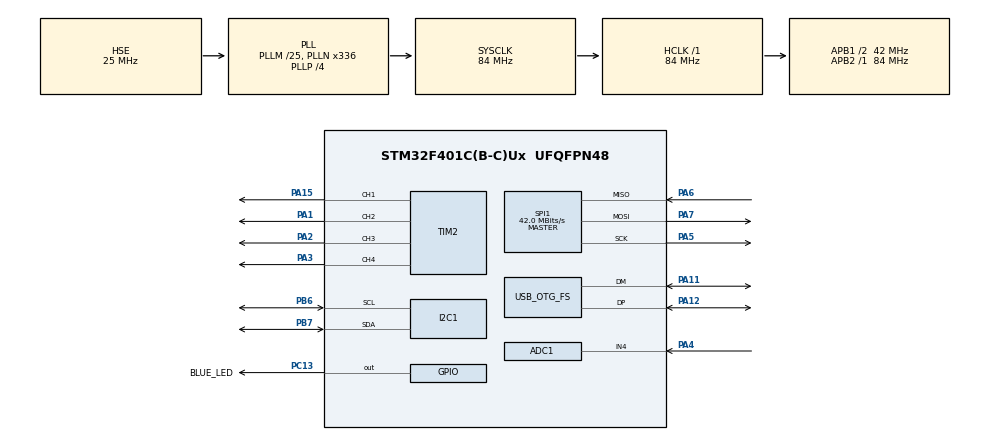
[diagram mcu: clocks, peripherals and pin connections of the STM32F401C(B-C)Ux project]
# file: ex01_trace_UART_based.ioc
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ADC1.Channel-2\#ChannelRegularConversion=ADC_CHANNEL_4
ADC1.NbrOfConversionFlag=1
ADC1.Rank-2\#ChannelRegularConversion=1
ADC1.SamplingTime-2\#ChannelRegularConversion=ADC_SAMPLETIME_3CYCLES
ADC1.master=1
Mcu.Family=STM32F4
Mcu.Name=STM32F401C(B-C)Ux
Mcu.Package=UFQFPN48
NVIC.OTG_FS_IRQn=true\:0\:0\:true\:false\:true\:false\:true\:true
NVIC.PriorityGroup=NVIC_PRIORITYGROUP_4
NVIC.TIM1_UP_TIM10_IRQn=true\:15\:0\:false\:false\:true\:false\:true\:true
NVIC.TimeBase=TIM1_UP_TIM10_IRQn
NVIC.TimeBaseIP=TIM1
PA1.Signal=S_TIM2_CH2
PA11.Mode=Device_Only
PA11.Signal=USB_OTG_FS_DM
PA12.Mode=Device_Only
PA12.Signal=USB_OTG_FS_DP
PA13.Mode=Trace_Asynchronous_SW
PA13.Signal=SYS_JTMS-SWDIO
PA14.Mode=Trace_Asynchronous_SW
PA14.Signal=SYS_JTCK-SWCLK
PA15.Signal=S_TIM2_CH1_ETR
PA2.Signal=S_TIM2_CH3
PA3.Signal=S_TIM2_CH4
PA4.Signal=ADCx_IN4
PA5.Mode=Full_Duplex_Master
PA5.Signal=SPI1_SCK
PA6.Mode=Full_Duplex_Master
PA6.Signal=SPI1_MISO
PA7.Mode=Full_Duplex_Master
PA7.Signal=SPI1_MOSI
PB3.Mode=Trace_Asynchronous_SW
PB3.Signal=SYS_JTDO-SWO
PB6.Mode=I2C
PB6.Signal=I2C1_SCL
PB7.Mode=I2C
PB7.Signal=I2C1_SDA
PC13-ANTI_TAMP.GPIO_Label=BLUE_LED
PC13-ANTI_TAMP.PinState=GPIO_PIN_SET
PC13-ANTI_TAMP.Signal=GPIO_Output
PC14-OSC32_IN.Mode=LSE-External-Oscillator
PC14-OSC32_IN.Signal=RCC_OSC32_IN
PC15-OSC32_OUT.Mode=LSE-External-Oscillator
PC15-OSC32_OUT.Signal=RCC_OSC32_OUT
PH0\ -\ OSC_IN.Mode=HSE-External-Oscillator
PH0\ -\ OSC_IN.Signal=RCC_OSC_IN
PH1\ -\ OSC_OUT.Mode=HSE-External-Oscillator
PH1\ -\ OSC_OUT.Signal=RCC_OSC_OUT
ProjectManager.HeapSize=0x200
ProjectManager.StackSize=0x400
ProjectManager.TargetToolchain=STM32CubeIDE
RCC.48MHZClocksFreq_Value=48000000
RCC.AHBFreq_Value=84000000
RCC.APB1CLKDivider=RCC_HCLK_DIV2
RCC.APB1Freq_Value=42000000
RCC.APB1TimFreq_Value=84000000
RCC.APB2Freq_Value=84000000
RCC.APB2TimFreq_Value=84000000
RCC.CortexFreq_Value=84000000
RCC.HCLKFreq_Value=84000000
RCC.HSE_VALUE=25000000
RCC.HSI_VALUE=16000000
RCC.PLLM=25
RCC.PLLN=336
RCC.PLLP=RCC_PLLP_DIV4
RCC.PLLQ=7
RCC.SYSCLKFreq_VALUE=84000000
RCC.SYSCLKSource=RCC_SYSCLKSOURCE_PLLCLK
RCC.VCOOutputFreq_Value=336000000
SH.ADCx_IN4.0=ADC1_IN4,IN4
SH.S_TIM2_CH1_ETR.0=TIM2_CH1,PWM Generation1 CH1
SH.S_TIM2_CH2.0=TIM2_CH2,PWM Generation2 CH2
SH.S_TIM2_CH3.0=TIM2_CH3,PWM Generation3 CH3
SH.S_TIM2_CH4.0=TIM2_CH4,PWM Generation4 CH4
SPI1.BaudRatePrescaler=SPI_BAUDRATEPRESCALER_2
SPI1.CalculateBaudRate=42.0 MBits/s
SPI1.Direction=SPI_DIRECTION_2LINES
SPI1.Mode=SPI_MODE_MASTER
SPI1.VirtualType=VM_MASTER
TIM2.Channel-PWM\ Generation1\ CH1=TIM_CHANNEL_1
TIM2.Channel-PWM\ Generation2\ CH2=TIM_CHANNEL_2
TIM2.Channel-PWM\ Generation3\ CH3=TIM_CHANNEL_3
TIM2.Channel-PWM\ Generation4\ CH4=TIM_CHANNEL_4
USB_DEVICE.CLASS_NAME_FS=CDC
USB_DEVICE.VirtualMode=Cdc
USB_DEVICE.VirtualModeFS=Cdc_FS
USB_OTG_FS.VirtualMode=Device_Only
VP_SYS_VS_tim1.Mode=TIM1
VP_USB_DEVICE_VS_USB_DEVICE_CDC_FS.Mode=CDC_FS
board=custom

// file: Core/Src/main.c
/* USER CODE BEGIN Header */
/**
  ******************************************************************************
  * @file           : main.c
  * @brief          : Main program body
  ******************************************************************************
  * @attention
  *
  * Copyright (c) 2022 STMicroelectronics.
  * All rights reserved.
  *
  * This software is licensed under terms that can be found in the LICENSE file
  * in the root directory of this software component.
  * If no LICENSE file comes with this software, it is provided AS-IS.
  *
  ******************************************************************************
  */
/* USER CODE END Header */
#include "main.h"
#include "adc.h"
#include "i2c.h"
#include "spi.h"
#include "tim.h"
#include "usb_device.h"
#include "gpio.h"

/* USER CODE BEGIN Includes */
#include "dwt_delay.h"
#include "FreeRTOS.h"
#include "task.h"
/* USER CODE END Includes */

/* USER CODE BEGIN PV */
TaskHandle_t task1_handle;
TaskHandle_t task2_handle;
BaseType_t status;
/* USER CODE END PV */

void SystemClock_Config(void);
/* USER CODE BEGIN PFP */
static void task1_handler(void *parameters);
static void task2_handler(void *parameters);
/* USER CODE END PFP */

int main(void)
{

  /* MCU Configuration--------------------------------------------------------*/

  /* Reset of all peripherals, Initializes the Flash interface and the Systick. */
  HAL_Init();

  /* Configure the system clock */
  SystemClock_Config();

  /* Initialize all configured peripherals */
  MX_GPIO_Init();
  MX_ADC1_Init();
  MX_I2C1_Init();
  MX_SPI1_Init();
  MX_TIM2_Init();
  MX_USB_DEVICE_Init();
  /* USER CODE BEGIN 2 */
  vSetVarulMaxPRIGROUPValue();
  DWT_Init();
  SEGGER_UART_init(500000);
  SEGGER_SYSVIEW_Conf();
//  SEGGER_SYSVIEW_Start();

  status = xTaskCreate(task1_handler, "task1", 200, "Hello world from task1\n\r", 2, &task1_handle);
  configASSERT(status == pdPASS);

  status = xTaskCreate(task2_handler, "task2", 200, "Hello world from task2\n\r", 2, &task2_handle);
  configASSERT(status == pdPASS);

  vTaskStartScheduler();
  /* USER CODE END 2 */

  /* Infinite loop */
  while (1)
  {

  }
}

void SystemClock_Config(void)
{
  RCC_OscInitTypeDef RCC_OscInitStruct = {0};
  RCC_ClkInitTypeDef RCC_ClkInitStruct = {0};

  /** Configure the main internal regulator output voltage
  */
  __HAL_RCC_PWR_CLK_ENABLE();
  __HAL_PWR_VOLTAGESCALING_CONFIG(PWR_REGULATOR_VOLTAGE_SCALE2);

  /** Initializes the RCC Oscillators according to the specified parameters
  * in the RCC_OscInitTypeDef structure.
  */
  RCC_OscInitStruct.OscillatorType = RCC_OSCILLATORTYPE_HSE;
  RCC_OscInitStruct.HSEState = RCC_HSE_ON;
  RCC_OscInitStruct.PLL.PLLState = RCC_PLL_ON;
  RCC_OscInitStruct.PLL.PLLSource = RCC_PLLSOURCE_HSE;
  RCC_OscInitStruct.PLL.PLLM = 25;
  RCC_OscInitStruct.PLL.PLLN = 336;
  RCC_OscInitStruct.PLL.PLLP = RCC_PLLP_DIV4;
  RCC_OscInitStruct.PLL.PLLQ = 7;
  if (HAL_RCC_OscConfig(&RCC_OscInitStruct) != HAL_OK)
  {
    Error_Handler();
  }

  /** Initializes the CPU, AHB and APB buses clocks
  */
  RCC_ClkInitStruct.ClockType = RCC_CLOCKTYPE_HCLK|RCC_CLOCKTYPE_SYSCLK
                              |RCC_CLOCKTYPE_PCLK1|RCC_CLOCKTYPE_PCLK2;
  RCC_ClkInitStruct.SYSCLKSource = RCC_SYSCLKSOURCE_PLLCLK;
  RCC_ClkInitStruct.AHBCLKDivider = RCC_SYSCLK_DIV1;
  RCC_ClkInitStruct.APB1CLKDivider = RCC_HCLK_DIV2;
  RCC_ClkInitStruct.APB2CLKDivider = RCC_HCLK_DIV1;

  if (HAL_RCC_ClockConfig(&RCC_ClkInitStruct, FLASH_LATENCY_2) != HAL_OK)
  {
    Error_Handler();
  }
}

/* USER CODE BEGIN 4 */
static void task1_handler(void *parameters)
{
  char msg[100];
  while (1) {
    // CDC_Transmit_FS((uint8_t *)parameters, strlen((char *)parameters));
//    printf("%s", (char *)parameters);
	snprintf(msg, 100, "%s", (char *)parameters);
	SEGGER_SYSVIEW_PrintfTarget(msg);
    taskYIELD();
  }
}

static void task2_handler(void *parameters)
{
  char msg[100];
  while (1) {
    // CDC_Transmit_FS((uint8_t *)parameters, strlen((char *)parameters));
//    printf("%s", (char *)parameters);
    snprintf(msg, 100, "%s", (char *)parameters);
    SEGGER_SYSVIEW_PrintfTarget(msg);
    taskYIELD();
  }
}
/* USER CODE END 4 */

void HAL_TIM_PeriodElapsedCallback(TIM_HandleTypeDef *htim)
{
  if (htim->Instance == TIM1) {
    HAL_IncTick();
  }
}

void Error_Handler(void)
{
  __disable_irq();
  while (1)
  {
  }
}
